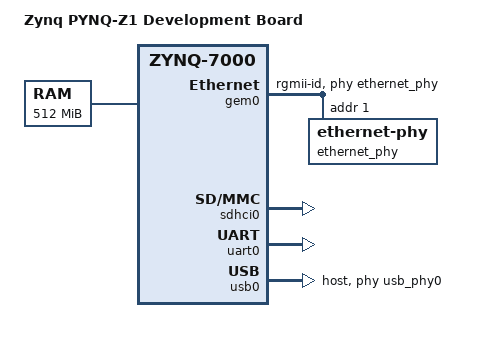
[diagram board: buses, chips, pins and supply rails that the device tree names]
/*
 * Digilent PYNQ-Z1 board DTS
 *
 *  Copyright (C) 2016 Digilent
 *
 * SPDX-License-Identifier:	GPL-2.0+
 */
/dts-v1/;
#include "zynq-7000.dtsi"

/ {
	model = "Zynq PYNQ-Z1 Development Board";
	compatible = "digilent,zynq-pynqz1", "xlnx,zynq-7000";

	aliases {
		ethernet0 = &gem0;
		serial0 = &uart0;
	};

	memory {
		device_type = "memory";
		reg = <0x0 0x20000000>;
	};

	chosen {
		bootargs = "earlycon";
		stdout-path = "serial0:115200n8";
	};

	usb_phy0: phy0 {
		compatible = "ulpi-phy";
		#phy-cells = <0x0>;
		reg = <0xe0002000 0x1000>;
		view-port = <0x170>;
		drv-vbus;
	};
};

&clkc {
	ps-clk-frequency = <50000000>;
	fclk-enable = <0xf>;
};

&gem0 {
	status = "okay";
	phy-mode = "rgmii-id";
	phy-handle = <&ethernet_phy>;

	ethernet_phy: ethernet-phy@0 { /* rtl8211e-vl */
		reg = <1>;
	};
};

&sdhci0 {
	status = "okay";
};

&uart0 {
	status = "okay";
	clock-frequency = <1843200>;
};

&usb0 {
	status = "okay";
	dr_mode = "host";
	usb-reset = <&gpio0 46 0>;
	usb-phy = <&usb_phy0>;
};
